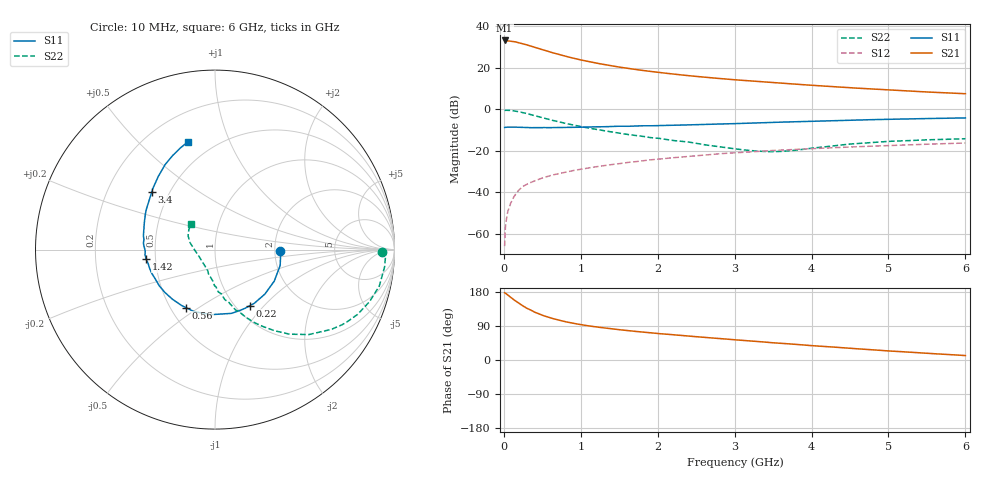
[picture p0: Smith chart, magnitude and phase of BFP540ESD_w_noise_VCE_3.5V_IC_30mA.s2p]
! Infineon Technologies  Discrete & RF Semiconductors
! BFP540ESD
! VCE =  3.5 V,  IC =  30 mA
! Common Emitter S-Parameters:  Nov 2015
# GHz  S  MA  R  50
!  f  S11  S21  S12  S22
! GHz  MAG  ANG  MAG  ANG  MAG  ANG  MAG  ANG
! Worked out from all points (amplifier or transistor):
!   210 points, 10 MHz to 6 GHz, reference 50 ohm
!   highest |S21| = 33.2 dB at 10 MHz (marker M1)
!   |S21| within 3 dB of that: start of sweep to 374 MHz
!   unconditionally stable (mu >= 1): start of sweep to 16.67 MHz; 1.906 GHz to end of sweep
!   at 185 MHz: K = 0.27, MSG = 35.8 dB, |S12| = -39.4 dB
!   at 1.52 GHz: K = 0.94, MSG = 23.2 dB, |S12| = -26.1 dB
!   at 6 GHz: K = 1.10, MAG = 9.9 dB, |S12| = -16.3 dB
!   lowest NFmin = 1.41 dB at 900 MHz
!   S11 on the Smith chart (normalised r, x): 10 MHz: 2.15, -0.05; 220 MHz: 1.15, -0.84; 560 MHz: 0.60, -0.45; 1.42 GHz: 0.44, -0.05; 3.4 GHz: 0.40, +0.33; 6 GHz: 0.37, +0.72
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0.01  0.3647 -1.6  45.81 177.5  0.0005 83.1  0.928 -0.9
0.02  0.3673 -5.7  45 176.4  0.0014 90.5  0.9514 -1.6
0.05  0.3736 -13.7  44.96 171.4  0.0033 87.7  0.95 -5.8
0.1  0.374 -28.0  43.85 163.6  0.006 79.4  0.9376 -12.5
0.15  0.3725 -41.8  42.36 156.0  0.0088 79.4  0.9086 -18.6
0.2  0.3707 -53.8  40.31 148.9  0.0115 75.9  0.8728 -24.4
0.22  0.3678 -58.3  39.36 146.4  0.0124 73.9  0.8555 -26.5
0.3  0.3668 -75.6  35.84 136.5  0.0157 72.0  0.7884 -34.2
0.4  0.3634 -93.7  31.37 126.3  0.0188 67.4  0.7048 -42.2
0.5  0.3645 -108.9  27.55 117.9  0.022 65.0  0.6268 -48.7
0.56  0.3614 -116.3  25.44 114.1  0.0238 64.5  0.5867 -51.6
0.6  0.3627 -121.2  24.11 111.2  0.025 64.2  0.5608 -53.7
0.7  0.3642 -130.6  21.43 105.8  0.0279 63.4  0.5055 -58.0
0.8  0.3674 -139.6  19.07 100.9  0.0304 61.9  0.4574 -62.1
1.02  0.3707 -154.0  15.26 92.7  0.0364 61.3  0.3768 -68.6
1.42  0.3868 -172.4  11.05 81.9  0.047 59.9  0.2805 -79.2
2.02  0.4067 168.6  7.735 69.6  0.063 56.8  0.1989 -91.0
3.1  0.4572 143.5  5.003 52.0  0.0916 48.2  0.1061 -122.6
3.4  0.4769 137.6  4.545 47.2  0.0992 45.3  0.096 -141.3
4.1  0.5225 126.1  3.7 36.6  0.1147 38.8  0.1204 176.2
5.1  0.5791 113.1  2.874 22.8  0.1357 29.6  0.1711 150.6
6  0.62 103.9  2.379 11.7  0.1538 22.5  0.1955 132.4
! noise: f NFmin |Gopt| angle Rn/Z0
0.9  1.41  0.38  -138  0.12
1.8  1.56  0.4  -142  0.12
2.4  1.58  0.41  -133  0.14
3  1.7  0.43  -126  0.17
4  1.76  0.52  -104  0.29
5  1.88  0.59  -87  0.46
6  2.22  0.57  -86  0.68
